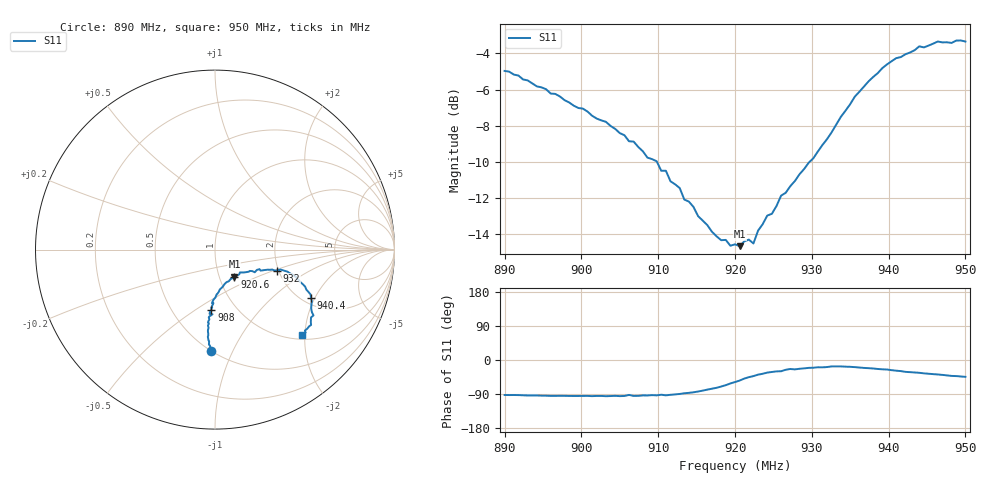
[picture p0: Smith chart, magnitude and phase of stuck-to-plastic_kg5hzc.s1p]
# HZ S RI R 50
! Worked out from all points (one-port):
!   101 points, 890 MHz to 950 MHz, reference 50 ohm
!   lowest |S11| = -14.7 dB at 920.6 MHz (marker M1), VSWR 1.45, Z = 59 - j18.3 ohm
!   |S11| at or under -10 dB: 909.8 MHz to 929.7 MHz (19.87 MHz wide, 2.16 % of centre)
!   S11 on the Smith chart (normalised r, x): 890 MHz: 0.50, -0.83; 908 MHz: 0.77, -0.58; 920.6 MHz: 1.18, -0.37; 932 MHz: 1.97, -0.53; 940.4 MHz: 2.21, -1.87; 950 MHz: 1.09, -1.94
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8.9e8  -0.0228 -0.5636
8.978e8  -0.0376 -0.4669
9.05e8  -0.0349 -0.3781
9.062e8  -0.0138 -0.3602
9.068e8  -0.0304 -0.3585
9.08e8  -0.0203 -0.3377
9.11e8  -0.017 -0.2983
9.128e8  0.0018 -0.2677
9.134e8  0.00959 -0.2486
9.17e8  0.05 -0.1964
9.194e8  0.0874 -0.1636
9.2e8  0.0986 -0.159
9.206e8  0.108 -0.1501
9.218e8  0.1356 -0.1371
9.224e8  0.1388 -0.127
9.242e8  0.1878 -0.1232
9.248e8  0.1936 -0.1189
9.26e8  0.2216 -0.1261
9.272e8  0.248 -0.1089
9.278e8  0.2543 -0.1172
9.32e8  0.3468 -0.1165
9.35e8  0.4343 -0.1408
9.374e8  0.491 -0.1945
9.404e8  0.5354 -0.2712
9.428e8  0.5374 -0.3371
9.44e8  0.5486 -0.3665
9.464e8  0.5353 -0.4197
9.5e8  0.4854 -0.4764
